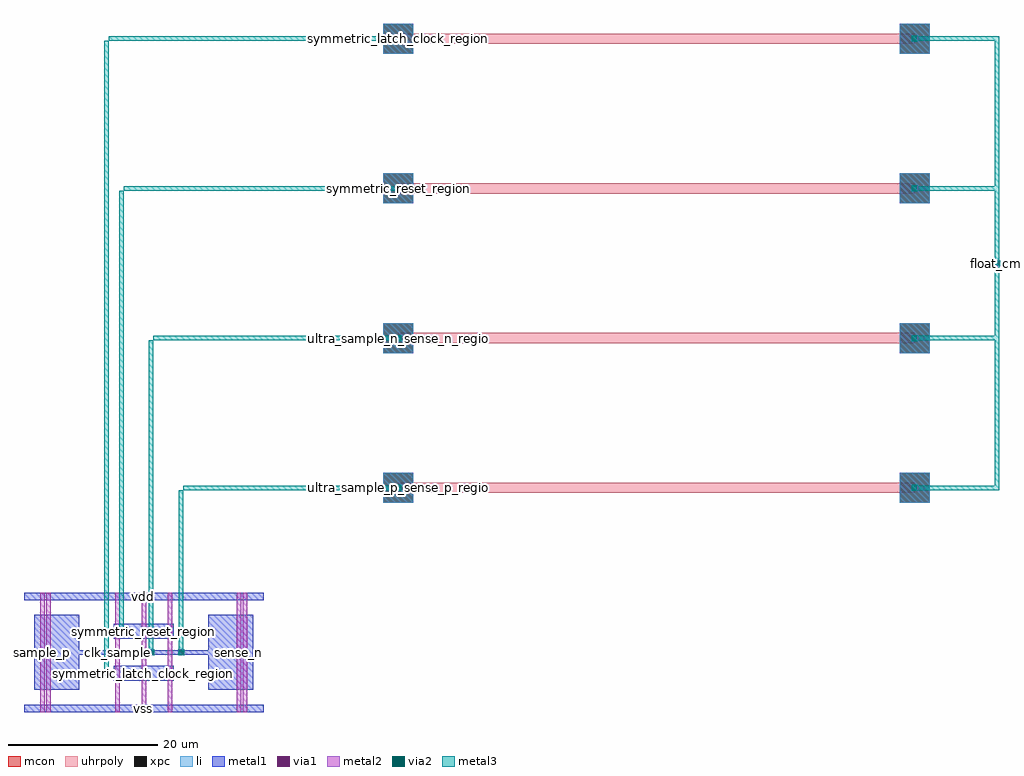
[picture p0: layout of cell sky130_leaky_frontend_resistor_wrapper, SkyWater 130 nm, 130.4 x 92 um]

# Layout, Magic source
magic
tech sky130A
<< uhrpoly >>
rect 5000 2931 11900 3069
rect 5000 4931 11900 5069
rect 5000 6931 11900 7069
rect 5000 8931 11900 9069
<< xpc >>
rect 4800 2800 5200 3200
rect 11700 2800 12100 3200
rect 4800 4800 5200 5200
rect 11700 4800 12100 5200
rect 4800 6800 5200 7200
rect 11700 6800 12100 7200
rect 4800 8800 5200 9200
rect 11700 8800 12100 9200
<< li >>
rect 4800 2800 5200 3200
rect 11700 2800 12100 3200
rect 4800 4800 5200 5200
rect 11700 4800 12100 5200
rect 4800 6800 5200 7200
rect 11700 6800 12100 7200
rect 4800 8800 5200 9200
rect 11700 8800 12100 9200
<< mcon >>
rect 4960 2960 5040 3040
rect 11860 2960 11940 3040
rect 4960 4960 5040 5040
rect 11860 4960 11940 5040
rect 4960 6960 5040 7040
rect 11860 6960 11940 7040
rect 4960 8960 5040 9040
rect 11860 8960 11940 9040
<< metal1 >>
rect 0 0 3200 100
rect 0 1500 3200 1600
rect 140 300 740 1300
rect 2460 300 3060 1300
rect 1200 980 2000 1180
rect 1200 420 2000 620
rect 4960 2960 5040 3040
rect 11860 2960 11940 3040
rect 410 770 2130 830
rect 2060 760 2140 840
rect 4960 2960 5040 3040
rect 11860 2960 11940 3040
rect 4960 4960 5040 5040
rect 11860 4960 11940 5040
rect 1730 770 2730 830
rect 1660 760 1740 840
rect 4960 4960 5040 5040
rect 11860 4960 11940 5040
rect 4960 6960 5040 7040
rect 11860 6960 11940 7040
rect 1330 1050 1570 1110
rect 1260 1040 1340 1120
rect 4960 6960 5040 7040
rect 11860 6960 11940 7040
rect 4960 8960 5040 9040
rect 11860 8960 11940 9040
rect 1130 490 1570 550
rect 1060 480 1140 560
rect 4960 8960 5040 9040
rect 11860 8960 11940 9040
rect 12960 5960 13040 6040
<< metal2 >>
rect 220 0 280 1600
rect 300 0 360 1600
rect 1220 0 1280 1600
rect 1570 0 1630 1600
rect 1920 0 1980 1600
rect 2840 0 2900 1600
rect 2920 0 2980 1600
rect 4960 2960 5040 3040
rect 11860 2960 11940 3040
rect 2060 760 2140 840
rect 4960 2960 5040 3040
rect 11860 2960 11940 3040
rect 4960 4960 5040 5040
rect 11860 4960 11940 5040
rect 1660 760 1740 840
rect 4960 4960 5040 5040
rect 11860 4960 11940 5040
rect 4960 6960 5040 7040
rect 11860 6960 11940 7040
rect 1260 1040 1340 1120
rect 4960 6960 5040 7040
rect 11860 6960 11940 7040
rect 4960 8960 5040 9040
rect 11860 8960 11940 9040
rect 1060 480 1140 560
rect 4960 8960 5040 9040
rect 11860 8960 11940 9040
rect 12960 5960 13040 6040
<< metal3 >>
rect 4960 2960 5040 3040
rect 11860 2960 11940 3040
rect 2060 760 2140 840
rect 11870 2970 13030 3030
rect 2130 2970 4970 3030
rect 2070 830 2130 2970
rect 4960 2960 5040 3040
rect 11860 2960 11940 3040
rect 4960 4960 5040 5040
rect 11860 4960 11940 5040
rect 1660 760 1740 840
rect 11870 4970 13030 5030
rect 1730 4970 4970 5030
rect 1670 830 1730 4970
rect 4960 4960 5040 5040
rect 11860 4960 11940 5040
rect 4960 6960 5040 7040
rect 11860 6960 11940 7040
rect 1260 1040 1340 1120
rect 11870 6970 13030 7030
rect 1330 6970 4970 7030
rect 1270 1110 1330 6970
rect 4960 6960 5040 7040
rect 11860 6960 11940 7040
rect 4960 8960 5040 9040
rect 11860 8960 11940 9040
rect 1060 480 1140 560
rect 11870 8970 13030 9030
rect 1130 8970 4970 9030
rect 1070 550 1130 8970
rect 4960 8960 5040 9040
rect 11860 8960 11940 9040
rect 12960 5960 13040 6040
rect 12970 2970 13030 9030
<< via1 >>
rect 4970 2970 5030 3030
rect 11870 2970 11930 3030
rect 2070 770 2130 830
rect 4970 2970 5030 3030
rect 11870 2970 11930 3030
rect 4970 4970 5030 5030
rect 11870 4970 11930 5030
rect 1670 770 1730 830
rect 4970 4970 5030 5030
rect 11870 4970 11930 5030
rect 4970 6970 5030 7030
rect 11870 6970 11930 7030
rect 1270 1050 1330 1110
rect 4970 6970 5030 7030
rect 11870 6970 11930 7030
rect 4970 8970 5030 9030
rect 11870 8970 11930 9030
rect 1070 490 1130 550
rect 4970 8970 5030 9030
rect 11870 8970 11930 9030
rect 12970 5970 13030 6030
<< via2 >>
rect 4970 2970 5030 3030
rect 11870 2970 11930 3030
rect 2070 770 2130 830
rect 4970 2970 5030 3030
rect 11870 2970 11930 3030
rect 4970 4970 5030 5030
rect 11870 4970 11930 5030
rect 1670 770 1730 830
rect 4970 4970 5030 5030
rect 11870 4970 11930 5030
rect 4970 6970 5030 7030
rect 11870 6970 11930 7030
rect 1270 1050 1330 1110
rect 4970 6970 5030 7030
rect 11870 6970 11930 7030
rect 4970 8970 5030 9030
rect 11870 8970 11930 9030
rect 1070 490 1130 550
rect 4970 8970 5030 9030
rect 11870 8970 11930 9030
rect 12970 5970 13030 6030
<< labels >>
rlabel metal1 0 0 3200 100 0 vss
port 1 nsew
rlabel metal1 0 1500 3200 1600 0 vdd
port 2 nsew
rlabel metal2 220 0 280 1600 0 sample_p
port 3 nsew
rlabel metal2 300 0 360 1600 0 sense_p
port 4 nsew
rlabel metal2 1220 0 1280 1600 0 clk_sample
port 5 nsew
rlabel metal2 1570 0 1630 1600 0 vcm_reset
port 6 nsew
rlabel metal2 1920 0 1980 1600 0 clk_latch
port 7 nsew
rlabel metal2 2840 0 2900 1600 0 sense_n
port 8 nsew
rlabel metal2 2920 0 2980 1600 0 sample_n
port 9 nsew
rlabel metal1 140 300 740 1300 0 ultra_sample_p_sense_p_region
rlabel metal1 2460 300 3060 1300 0 ultra_sample_n_sense_n_region
rlabel metal1 1200 980 2000 1180 0 symmetric_reset_region
rlabel metal1 1200 420 2000 620 0 symmetric_latch_clock_region
rlabel metal3 2060 760 2140 840 0 ultra_sample_p_sense_p_region
rlabel metal1 4960 2960 5040 3040 0 ultra_sample_p_sense_p_region
rlabel metal3 1660 760 1740 840 0 ultra_sample_n_sense_n_region
rlabel metal1 4960 4960 5040 5040 0 ultra_sample_n_sense_n_region
rlabel metal3 1260 1040 1340 1120 0 symmetric_reset_region
rlabel metal1 4960 6960 5040 7040 0 symmetric_reset_region
rlabel metal3 1060 480 1140 560 0 symmetric_latch_clock_region
rlabel metal1 4960 8960 5040 9040 0 symmetric_latch_clock_region
rlabel metal3 12940 5960 13060 6040 0 float_cm
port 14 nsew
<< end >>
